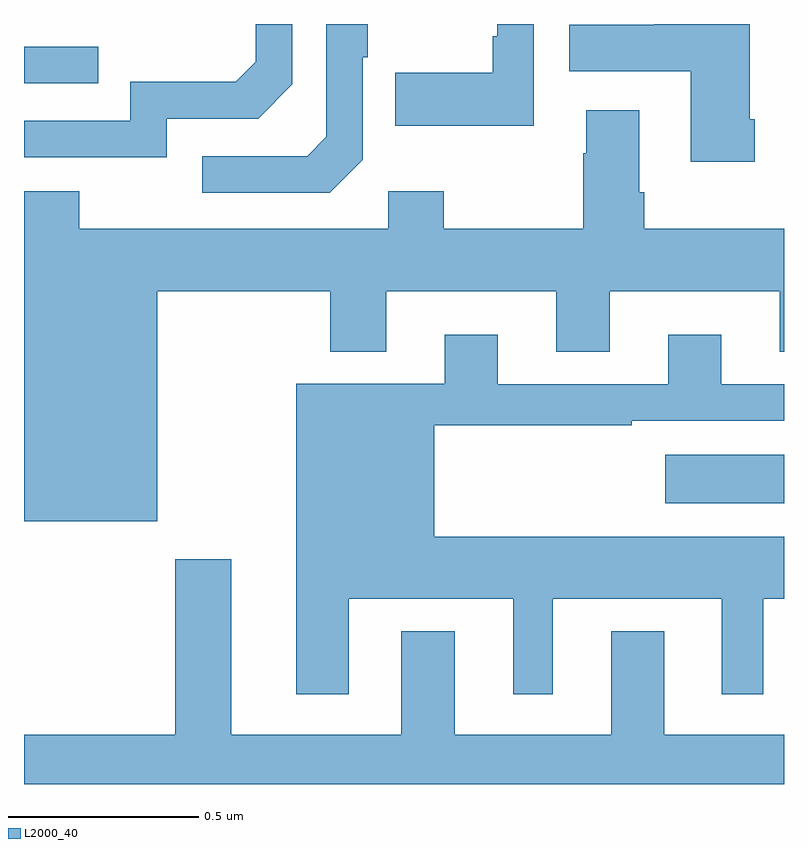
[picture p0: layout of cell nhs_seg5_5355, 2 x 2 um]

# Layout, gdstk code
import gdstk
lib = gdstk.Library(unit=1e-6, precision=1e-09)
def R(c, l, rs):  # rectangles x0, y0, x1, y1
    for r in rs: c.add(gdstk.rectangle(r[:2], r[2:], *l))
def P(c, l, *ps):  # polygons
    for p in ps: c.add(gdstk.Polygon(p, *l))
L2000_40 = (2000, 40)

nhs_seg5_5355 = lib.new_cell('nhs_seg5_5355')
R(nhs_seg5_5355, L2000_40, [(183.687,853.538,184,853.666), (182,854.643,182.195,854.739)])
P(nhs_seg5_5355, L2000_40, [(183.923,854.548),(183.91,854.548),(183.91,854.799),(183.659,854.799),(183.659,854.797),(183.435,854.797),(183.435,854.675),(183.755,854.675),(183.755,854.436),(183.923,854.436)],
  [(183.342,854.799),(183.246,854.799),(183.246,854.767),(183.234,854.767),(183.234,854.671),(182.977,854.671),(182.977,854.531),(183.342,854.531)],
  [(182.892,854.442),(182.892,854.711),(182.905,854.711),(182.905,854.799),(182.796,854.799),(182.796,854.502),(182.745,854.451),(182.469,854.451),(182.469,854.355),(182.805,854.355)],
  [(182.376,854.55),(182.616,854.55),(182.706,854.64),(182.706,854.799),(182.61,854.799),(182.61,854.7),(182.557,854.647),(182.28,854.647),(182.28,854.544),(182,854.544),(182,854.448),(182.376,854.448)],
  [(182.35,854.096),(182.806,854.096),(182.806,853.937),(182.953,853.937),(182.953,854.096),(183.401,854.096),(183.401,853.936),(183.541,853.936),(183.541,854.096),(183.989,854.096),(183.989,853.936),(184,853.936),(184,854.26),(183.632,854.26),(183.632,854.356),(183.619,854.356),(183.619,854.572),(183.479,854.572),(183.479,854.459),(183.472,854.459),(183.472,854.26),(183.105,854.26),(183.105,854.359),(182.958,854.359),(182.958,854.26),(182.145,854.26),(182.145,854.359),(182,854.359),(182,853.49),(182.35,853.49)],
  [(182.854,853.286),(183.287,853.286),(183.287,853.035),(183.391,853.035),(183.391,853.286),(183.836,853.286),(183.836,853.035),(183.946,853.035),(183.946,853.286),(184,853.286),(184,853.45),(183.079,853.45),(183.079,853.743),(183.599,853.743),(183.599,853.755),(184,853.755),(184,853.851),(183.835,853.851),(183.835,853.981),(183.695,853.981),(183.695,853.851),(183.247,853.851),(183.247,853.981),(183.107,853.981),(183.107,853.852),(182.717,853.852),(182.717,853.035),(182.854,853.035)],
  [(184,852.928),(183.685,852.928),(183.685,853.201),(183.545,853.201),(183.545,852.928),(183.133,852.928),(183.133,853.201),(182.993,853.201),(182.993,852.928),(182.545,852.928),(182.545,853.39),(182.398,853.39),(182.398,852.928),(182,852.928),(182,852.799),(184,852.799)])

lib.write_gds('nhs_seg5_5355.gds')
